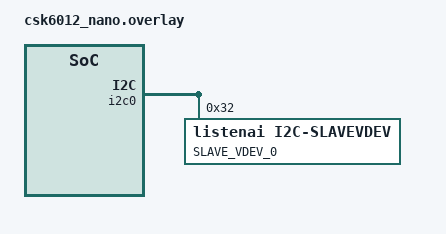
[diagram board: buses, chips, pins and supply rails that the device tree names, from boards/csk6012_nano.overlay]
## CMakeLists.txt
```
# SPDX-License-Identifier: Apache-2.0

cmake_minimum_required(VERSION 3.20.0)

set(SUPPORT_BOARDS csk6012_nano csk6011a_nano)
if(NOT ${BOARD} IN_LIST SUPPORT_BOARDS)
    message("Please choose one of the following boards:")
    foreach(item ${SUPPORT_BOARDS})
        message(STATUS ${item})
    endforeach()
    message(FATAL_ERROR "\nThe project does not support the ${BOARD}")
endif()

find_package(Zephyr REQUIRED HINTS $ENV{ZEPHYR_BASE})
project(i2c_slave_vdev)

# add_subdirectory_ifdef(CONFIG_I2C_SLAVE_VIRTUAL_DEVICE			common/slave)
# FILE(GLOB app_sources src/*.c)

zephyr_include_directories(common/slave)
FILE(GLOB app_sources src/*.c common/slave/i2c_slave_vdev.c)

target_sources(app PRIVATE ${app_sources})
```

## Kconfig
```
# SPDX-License-Identifier: Apache-2.0

mainmenu "I2C Slave API Test"

source "Kconfig.zephyr"

rsource "common/slave/Kconfig"
```

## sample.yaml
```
tests:
  sample.board.csk6.driver.i2c.master_slave:
    platform_allow: csk6011a_nano
    tags: csk6
    timeout: 10
    harness: console
    harness_config:
      type: one_line
      ordered: true
      regex:
        - "I2C Slave Virtual device Note: SLAVE_VDEV_0"
```

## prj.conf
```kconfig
CONFIG_LOG=y
CONFIG_BOOT_BANNER=y

CONFIG_STDOUT_CONSOLE=y
CONFIG_PRINTK=y

CONFIG_SHELL=y
CONFIG_SHELL_LOG_LEVEL_INF=y

CONFIG_I2C=y
CONFIG_I2C_LOG_LEVEL_INF=y
CONFIG_I2C_SLAVE=y
CONFIG_I2C_SLAVE_INIT_PRIORITY=60
CONFIG_I2C_SLAVE_VIRTUAL_DEVICE=y
```

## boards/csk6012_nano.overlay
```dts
/*
 * Copyright (c) 2023 Anhui(Shenzhen) Listenai Co., Ltd.
 *
 * SPDX-License-Identifier: Apache-2.0
 */
&pinctrl {
	/* I2C alternate function */
	pinctrl_i2c0_scl_default: i2c0_scl_default{
		pinctrls = <I2C0_SCL_GPIOA_10>;
	};

	pinctrl_i2c0_sda_default: i2c0_sda_default{
		pinctrls = <I2C0_SDA_GPIOA_11>;
	};
};

&i2c0 {
	status = "okay";
	pinctrl-0 = <&pinctrl_i2c0_scl_default &pinctrl_i2c0_sda_default>;
	pinctrl-names = "default";

	i2cslavevdev0: i2cslavevdev@32 {
		compatible = "listenai,i2c-slavevdev";
		reg = <0x32>;
		label = "SLAVE_VDEV_0";
		size = <256>;
	};
};
```

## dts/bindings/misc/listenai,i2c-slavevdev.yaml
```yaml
#
# Copyright (c) 2023 Anhui(Shenzhen) Listenai Co., Ltd.
# SPDX-License-Identifier: Apache-2.0
#

description: listenai I2C Slave Virtual Device

compatible: "listenai,i2c-slavevdev"

include: [i2c-device.yaml]

properties:
    size:
      type: int
      required: true
      description: Total Virtual Device Buffer Area size in bytes
```

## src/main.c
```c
/*
 * Copyright (c) 2023 Anhui(Shenzhen) Listenai Co., Ltd.
 *
 * SPDX-License-Identifier: Apache-2.0
 */

#include <errno.h>
#include <string.h>

#include <zephyr/zephyr.h>
#include <zephyr/device.h>
#include <stdio.h>
#include <zephyr/sys/util.h>

#include <zephyr/drivers/i2c.h>
#include <i2c_slave_vdev.h>

#include <zephyr/logging/log.h>
LOG_MODULE_REGISTER(vdev_demo, LOG_LEVEL_INF);

#define NODE_VIRTUAL_DEV DT_NODELABEL(i2cslavevdev0)
#define TEST_DATA_SIZE	256
static uint8_t i2_vdev_0_data[TEST_DATA_SIZE] = "0123456789abcdefghij";

const struct device *i2_vdev_0 = NULL;
void i2_slave_vdev_init(void)
{
	int ret;
	const char *label_0 = DT_LABEL(NODE_VIRTUAL_DEV);
    printk("I2C Slave Virtual device Note: %s \n", label_0);
	i2_vdev_0 = device_get_binding(label_0);
	int addr_0 = DT_REG_ADDR(NODE_VIRTUAL_DEV);
	
    if (i2_vdev_0 == NULL)
    {
        printk("I2C Slave Virtual device not found \n");
        return;
    }
	printk("Device: %s, I2C Addr: 0x%X", label_0, addr_0);
	int i=0;
	for(i=0; i<TEST_DATA_SIZE; i++) {
		i2_vdev_0_data[i] = i;
	}
	ret = slave_vdev_program(i2_vdev_0, i2_vdev_0_data, TEST_DATA_SIZE);

	/* Attach each i2_vdev to its owning bus as a slave device. */
	ret = i2c_slave_driver_register(i2_vdev_0);
}

int vdev_handler(const struct device *dev, const uint32_t event, const struct i2c_msg msg)
{
	// Slave Virtual Device USER Handler
	LOG_DBG("Event:0x%X", event);
	if (event & SLAVE_VDEV_EVENT_READ_DONE) {
		printk("I2C Transmit data length:%d, Flag: 0x%X\n", msg.len, msg.flags);
		LOG_HEXDUMP_DBG(msg.buf, msg.len, "I2C Transmit data");
	}

	if (event & SLAVE_VDEV_EVENT_WRITE_DONE) {
		printk("I2C Receive data length:%d, Flag: 0x%X\n", msg.len, msg.flags);
		LOG_HEXDUMP_DBG(msg.buf, msg.len, "I2C Receive data");
	}
	return 0;
}

void main(void)
{
	i2_slave_vdev_init();

	slave_vdev_event_handler_register(i2_vdev_0, &vdev_handler);
	start_slave_vdev_handler_task(i2_vdev_0);
	while (1)
	{
		k_msleep(2000);
	}
}
```
